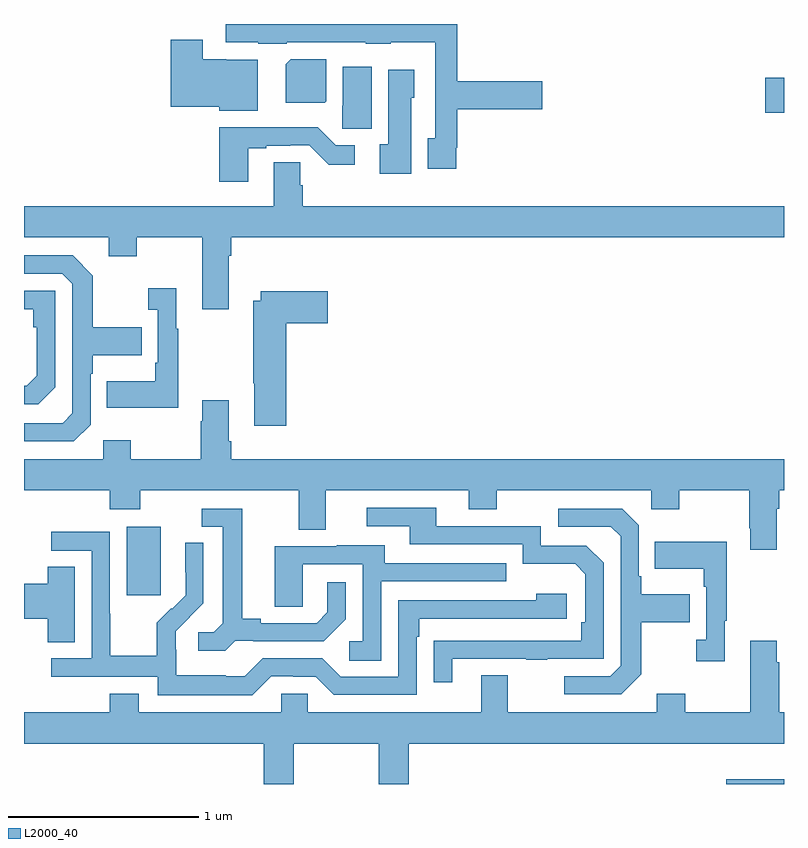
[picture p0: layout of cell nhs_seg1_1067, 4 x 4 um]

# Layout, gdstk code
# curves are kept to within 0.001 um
import gdstk
lib = gdstk.Library(unit=1e-6, precision=1e-09)
def R(c, l, rs):  # rectangles x0, y0, x1, y1
    for r in rs: c.add(gdstk.rectangle(r[:2], r[2:], *l))
def P(c, l, *ps):  # polygons
    for p in ps: c.add(gdstk.Polygon(p, *l))
L2000_40 = (2000, 40)

nhs_seg1_1067 = lib.new_cell('nhs_seg1_1067')
R(nhs_seg1_1067, L2000_40, [(172.695,538.199,173,538.224), (169.541,539.193,169.72,539.554), (172.902,541.733,173,541.916)])
P(nhs_seg1_1067, L2000_40, [(171.274,541.549),(171.281,541.549),(171.281,541.751),(171.727,541.751),(171.727,541.898),(171.281,541.898),(171.281,542.199),(170.061,542.199),(170.061,542.102),(170.232,542.102),(170.232,542.096),(170.382,542.096),(170.382,542.103),(170.799,542.103),(170.799,542.096),(170.931,542.096),(170.931,542.102),(171.165,542.102),(171.165,541.598),(171.125,541.598),(171.125,541.437),(171.274,541.437)],
  [(170.23,542.012),(170.064,542.012),(170.064,542.014),(169.942,542.014),(169.942,542.116),(169.772,542.116),(169.772,541.763),(170.028,541.763),(170.028,541.742),(170.23,541.742)],
  [(170.59,541.792),(170.59,542.014),(170.404,542.014),(170.378,541.988),(170.378,541.784),(170.582,541.784)],
  [(170.83,541.975),(170.678,541.975),(170.678,541.77),(170.674,541.77),(170.674,541.647),(170.83,541.647)],
  [(171.037,541.812),(171.055,541.812),(171.055,541.957),(170.918,541.957),(170.918,541.566),(170.873,541.566),(170.873,541.412),(171.037,541.412)],
  [(170.179,541.545),(170.275,541.545),(170.275,541.557),(170.402,541.557),(170.402,541.56),(170.502,541.56),(170.605,541.458),(170.74,541.458),(170.74,541.56),(170.64,541.56),(170.545,541.655),(170.027,541.655),(170.027,541.368),(170.179,541.368)],
  [(170.077,540.98),(170.09,540.98),(170.09,541.076),(173,541.076),(173,541.24),(170.468,541.24),(170.468,541.35),(170.454,541.35),(170.454,541.472),(170.315,541.472),(170.315,541.24),(169,541.24),(169,541.076),(169.445,541.076),(169.445,540.977),(169.593,540.977),(169.593,541.076),(169.937,541.076),(169.937,540.699),(170.077,540.699)],
  [(169.35,540.09),(169.35,540.359),(169.363,540.359),(169.363,540.455),(169.619,540.455),(169.619,540.603),(169.363,540.603),(169.363,540.875),(169.257,540.981),(169,540.981),(169,540.885),(169.2,540.885),(169.254,540.831),(169.254,540.15),(169.203,540.099),(169,540.099),(169,540.003),(169.263,540.003)],
  [(169.813,540.595),(169.801,540.595),(169.801,540.808),(169.653,540.808),(169.653,540.695),(169.704,540.695),(169.704,540.415),(169.692,540.415),(169.692,540.319),(169.435,540.319),(169.435,540.179),(169.813,540.179)],
  [(169.164,540.288),(169.164,540.795),(169,540.795),(169,540.699),(169.048,540.699),(169.048,540.602),(169.068,540.602),(169.068,540.348),(169.015,540.295),(169,540.295),(169,540.198),(169.074,540.198)],
  [(170.381,540.623),(170.599,540.623),(170.599,540.793),(170.246,540.793),(170.246,540.742),(170.206,540.742),(170.206,540.307),(170.213,540.307),(170.213,540.084),(170.381,540.084)],
  [(172.963,539.648),(172.976,539.648),(172.976,539.744),(173,539.744),(173,539.908),(170.09,539.908),(170.09,540.004),(170.077,540.004),(170.077,540.22),(169.937,540.22),(169.937,540.107),(169.93,540.107),(169.93,539.908),(169.563,539.908),(169.563,540.007),(169.416,540.007),(169.416,539.908),(169,539.908),(169,539.744),(169.451,539.744),(169.451,539.645),(169.611,539.645),(169.611,539.744),(170.447,539.744),(170.447,539.536),(170.587,539.536),(170.587,539.744),(171.341,539.744),(171.341,539.645),(171.489,539.645),(171.489,539.744),(172.302,539.744),(172.302,539.645),(172.449,539.645),(172.449,539.744),(172.816,539.744),(172.816,539.545),(172.823,539.545),(172.823,539.433),(172.963,539.433)],
  [(171.253,538.857),(171.643,538.857),(171.643,538.852),(171.755,538.852),(171.755,538.857),(172.05,538.857),(172.05,539.364),(171.96,539.454),(171.72,539.454),(171.72,539.556),(171.169,539.556),(171.169,539.652),(170.805,539.652),(170.805,539.556),(171.029,539.556),(171.029,539.46),(171.624,539.46),(171.624,539.357),(171.901,539.357),(171.954,539.304),(171.954,539.05),(171.934,539.05),(171.934,538.953),(171.157,538.952),(171.157,538.734),(171.253,538.734)],
  [(172.249,538.777),(172.249,539.05),(172.505,539.05),(172.505,539.197),(172.249,539.197),(172.249,539.293),(172.236,539.293),(172.236,539.562),(172.149,539.649),(171.813,539.649),(171.813,539.553),(172.089,539.553),(172.14,539.502),(172.14,538.821),(172.086,538.767),(171.843,538.767),(171.843,538.671),(172.143,538.671)],
  [(170.112,538.953),(170.206,538.953),(170.206,538.95),(170.578,538.95),(170.694,539.066),(170.694,539.26),(170.597,539.26),(170.597,539.103),(170.54,539.046),(170.245,539.046),(170.245,539.069),(170.149,539.069),(170.149,539.649),(169.935,539.649),(169.935,539.553),(170.045,539.553),(170.045,539.045),(169.998,538.998),(169.917,538.998),(169.917,538.901),(170.06,538.901)],
  [(170.301,538.767),(170.417,538.767),(170.417,538.764),(170.535,538.764),(170.631,538.668),(171.066,538.668),(171.066,538.973),(171.079,538.973),(171.079,539.07),(171.856,539.07),(171.856,539.2),(171.695,539.2),(171.695,539.166),(170.97,539.166),(170.97,538.764),(170.667,538.764),(170.571,538.86),(170.256,538.86),(170.163,538.767),(170.063,538.767),(170.063,538.771),(169.8,538.771),(169.8,538.905),(169.798,538.905),(169.798,539.002),(169.944,539.15),(169.944,539.468),(169.848,539.468),(169.848,539.314),(169.85,539.314),(169.85,539.192),(169.779,539.121),(169.776,539.124),(169.699,539.047),(169.699,538.873),(169.455,538.873),(169.455,539.096),(169.452,539.096),(169.452,539.526),(169.143,539.526),(169.143,539.427),(169.356,539.427),(169.356,538.86),(169.143,538.86),(169.143,538.764),(169.704,538.764),(169.704,538.667),(170.201,538.667)],
  [(172.687,539.057),(172.699,539.057),(172.699,539.473),(172.321,539.473),(172.321,539.333),(172.578,539.333),(172.578,539.237),(172.59,539.237),(172.59,538.958),(172.539,538.958),(172.539,538.845),(172.687,538.845)],
  [(170.88,539.265),(171.539,539.265),(171.539,539.361),(170.899,539.361),(170.899,539.455),(170.645,539.455),(170.645,539.451),(170.321,539.451),(170.321,539.131),(170.466,539.131),(170.466,539.355),(170.784,539.355),(170.784,538.95),(170.712,538.95),(170.712,538.849),(170.88,538.849)],
  [(169.267,539.342),(169.124,539.342),(169.124,539.252),(169,539.252),(169,539.069),(169.124,539.069),(169.124,538.945),(169.267,538.945)],
  [(170.421,538.412),(170.866,538.412),(170.866,538.199),(171.026,538.199),(171.026,538.412),(173,538.412),(173,538.576),(172.976,538.576),(172.976,538.841),(172.963,538.841),(172.963,538.954),(172.823,538.954),(172.823,538.576),(172.479,538.576),(172.479,538.675),(172.331,538.675),(172.331,538.576),(171.547,538.576),(171.547,538.771),(171.407,538.771),(171.407,538.576),(170.493,538.576),(170.493,538.674),(170.355,538.674),(170.355,538.576),(169.603,538.576),(169.603,538.675),(169.451,538.675),(169.451,538.576),(169,538.576),(169,538.412),(170.261,538.412),(170.261,538.199),(170.421,538.199)])

lib.write_gds('nhs_seg1_1067.gds')
